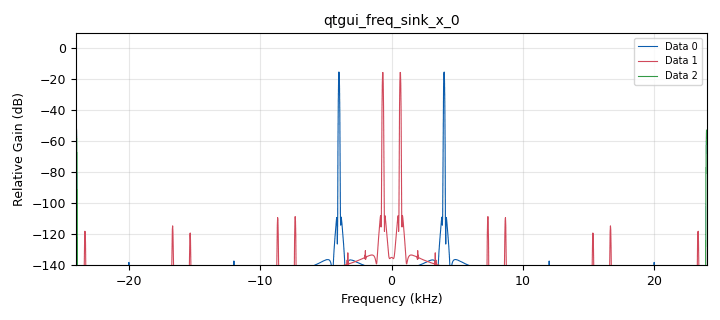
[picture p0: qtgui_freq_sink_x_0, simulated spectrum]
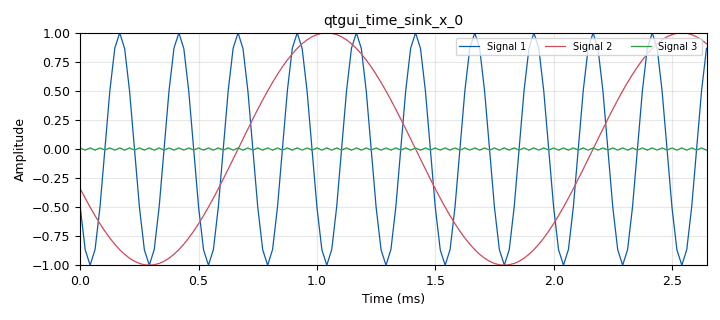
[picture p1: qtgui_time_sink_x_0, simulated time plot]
options:
  parameters:
    author: Jhonatan Franco_Jhonatan Valest_J1B_G4
    generate_options: qt_gui
    id: LAB_1_PARTEB_PUNTO3
    output_language: python
    title: Interpolacion
  states: {}

blocks:
- name: freq
  id: variable_qtgui_range
  parameters:
    label: Frequency
    start: '1'
    step: '1000'
    stop: '40000'
    value: '4000'
  states: {}
- name: samp_rate
  id: variable
  parameters:
    value: '48000'
  states: {}
- name: analog_sig_source_x_0
  id: analog_sig_source_x
  parameters:
    amp: '1'
    freq: freq
    offset: '0'
    phase: '0'
    samp_rate: samp_rate
    type: float
    waveform: analog.GR_COS_WAVE
  states: {}
- name: analog_sig_source_x_1
  id: analog_sig_source_x
  parameters:
    amp: '1'
    freq: freq
    offset: '0'
    phase: '0'
    samp_rate: samp_rate
    type: float
    waveform: analog.GR_COS_WAVE
  states: {}
- name: analog_sig_source_x_2
  id: analog_sig_source_x
  parameters:
    amp: '1'
    freq: freq
    offset: '0'
    phase: '0'
    samp_rate: samp_rate
    type: float
    waveform: analog.GR_COS_WAVE
  states: {}
- name: blocks_throttle_0
  id: blocks_throttle
  parameters:
    samples_per_second: samp_rate
    type: float
  states: {}
- name: qtgui_freq_sink_x_0
  id: qtgui_freq_sink_x
  parameters:
    bw: samp_rate
    fc: '0'
    fftsize: '2048'
    nconnections: '3'
    type: float
  states: {}
- name: qtgui_time_sink_x_0
  id: qtgui_time_sink_x
  parameters:
    nconnections: '3'
    size: '128'
    srate: samp_rate
    type: float
  states: {}
- name: rational_resampler_xxx_0
  id: rational_resampler_xxx
  parameters:
    decim: '6'
    interp: '1'
    type: fff
  states: {}
- name: rational_resampler_xxx_1
  id: rational_resampler_xxx
  parameters:
    decim: '1'
    interp: '1'
    type: fff
  states: {}
- name: rational_resampler_xxx_2
  id: rational_resampler_xxx
  parameters:
    decim: '1'
    interp: '6'
    type: fff
  states: {}

connections:
- [analog_sig_source_x_0, '0', rational_resampler_xxx_2, '0']
- [analog_sig_source_x_1, '0', rational_resampler_xxx_1, '0']
- [analog_sig_source_x_2, '0', rational_resampler_xxx_0, '0']
- [blocks_throttle_0, '0', qtgui_freq_sink_x_0, '0']
- [blocks_throttle_0, '0', qtgui_time_sink_x_0, '0']
- [rational_resampler_xxx_0, '0', qtgui_freq_sink_x_0, '2']
- [rational_resampler_xxx_0, '0', qtgui_time_sink_x_0, '2']
- [rational_resampler_xxx_1, '0', blocks_throttle_0, '0']
- [rational_resampler_xxx_2, '0', qtgui_freq_sink_x_0, '1']
- [rational_resampler_xxx_2, '0', qtgui_time_sink_x_0, '1']

metadata:
  file_format: 1
  grc_version: 3.10.5.1
